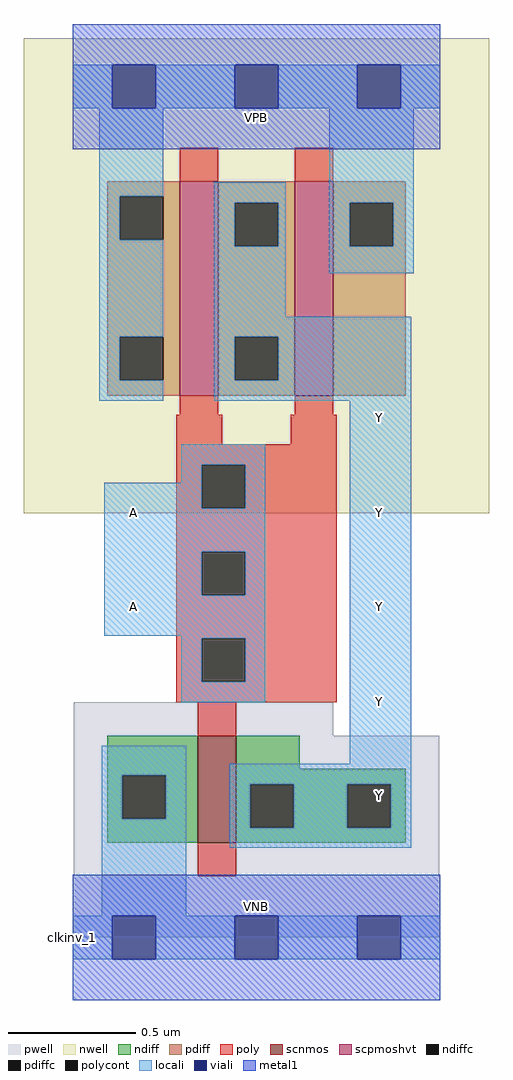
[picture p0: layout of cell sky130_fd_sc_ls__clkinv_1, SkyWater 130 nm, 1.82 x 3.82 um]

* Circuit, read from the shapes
.subckt sky130_fd_sc_ls__clkinv_1 A VGND VNB VPB VPWR Y
XM1 Y A VGND VNB sky130_fd_pr__nfet_01v8 w=0.42 l=0.15
XM2 Y A VPWR VPB sky130_fd_pr__pfet_01v8_hvt w=0.84 l=0.15 m=2
.ends

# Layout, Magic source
magic
tech sky130A
magscale 1 2
<< nwell >>
rect -38 332 326 704
<< pwell >>
rect 1 158 204 184
rect 1 49 287 158
rect 0 0 288 49
<< scnmos >>
rect 98 74 128 158
<< scpmoshvt >>
rect 84 424 114 592
rect 174 424 204 592
<< ndiff >>
rect 27 127 98 158
rect 27 93 39 127
rect 73 93 98 127
rect 27 74 98 93
rect 128 132 178 158
rect 128 120 261 132
rect 128 86 139 120
rect 173 86 215 120
rect 249 86 261 120
rect 128 74 261 86
<< pdiff >>
rect 27 580 84 592
rect 27 546 37 580
rect 71 546 84 580
rect 27 470 84 546
rect 27 436 37 470
rect 71 436 84 470
rect 27 424 84 436
rect 114 575 174 592
rect 114 541 127 575
rect 161 541 174 575
rect 114 470 174 541
rect 114 436 127 470
rect 161 436 174 470
rect 114 424 174 436
rect 204 575 261 592
rect 204 541 217 575
rect 251 541 261 575
rect 204 424 261 541
<< ndiffc >>
rect 39 93 73 127
rect 139 86 173 120
rect 215 86 249 120
<< pdiffc >>
rect 37 546 71 580
rect 37 436 71 470
rect 127 541 161 575
rect 127 436 161 470
rect 217 541 251 575
<< poly >>
rect 84 592 114 618
rect 174 592 204 618
rect 84 409 114 424
rect 174 409 204 424
rect 81 386 117 409
rect 171 386 207 409
rect 81 370 207 386
rect 81 336 101 370
rect 135 336 207 370
rect 81 302 207 336
rect 81 268 101 302
rect 135 268 207 302
rect 81 234 207 268
rect 81 200 101 234
rect 135 200 207 234
rect 81 184 207 200
rect 98 158 128 184
rect 98 48 128 74
<< polycont >>
rect 101 336 135 370
rect 101 268 135 302
rect 101 200 135 234
<< locali >>
rect 0 649 31 683
rect 65 649 127 683
rect 161 649 223 683
rect 257 649 288 683
rect 21 580 71 649
rect 21 546 37 580
rect 21 470 71 546
rect 21 436 37 470
rect 21 420 71 436
rect 111 575 167 591
rect 111 541 127 575
rect 161 541 167 575
rect 111 486 167 541
rect 201 575 267 649
rect 201 541 217 575
rect 251 541 267 575
rect 201 520 267 541
rect 111 470 265 486
rect 111 436 127 470
rect 161 436 265 470
rect 111 420 265 436
rect 85 370 151 386
rect 85 356 101 370
rect 25 336 101 356
rect 135 336 151 370
rect 25 302 151 336
rect 25 268 101 302
rect 135 268 151 302
rect 25 236 151 268
rect 85 234 151 236
rect 85 200 101 234
rect 135 200 151 234
rect 85 184 151 200
rect 23 127 89 150
rect 217 136 265 420
rect 23 93 39 127
rect 73 93 89 127
rect 23 17 89 93
rect 123 120 265 136
rect 123 86 139 120
rect 173 86 215 120
rect 249 86 265 120
rect 123 70 265 86
rect 0 -17 31 17
rect 65 -17 127 17
rect 161 -17 223 17
rect 257 -17 288 17
<< viali >>
rect 31 649 65 683
rect 127 649 161 683
rect 223 649 257 683
rect 31 -17 65 17
rect 127 -17 161 17
rect 223 -17 257 17
<< metal1 >>
rect 0 683 288 715
rect 0 649 31 683
rect 65 649 127 683
rect 161 649 223 683
rect 257 649 288 683
rect 0 617 288 649
rect 0 17 288 49
rect 0 -17 31 17
rect 65 -17 127 17
rect 161 -17 223 17
rect 257 -17 288 17
rect 0 -49 288 -17
<< labels >>
rlabel comment s 0 0 0 0 4 clkinv_1
flabel pwell s 0 0 288 49 0 FreeSans 200 0 0 0 VNB
port 3 nsew ground bidirectional
flabel nwell s 0 617 288 666 0 FreeSans 200 0 0 0 VPB
port 4 nsew power bidirectional
flabel metal1 s 0 617 288 666 0 FreeSans 340 0 0 0 VPWR
port 5 nsew power bidirectional abutment
flabel metal1 s 0 0 288 49 0 FreeSans 340 0 0 0 VGND
port 2 nsew ground bidirectional abutment
flabel locali s 31 242 65 276 0 FreeSans 340 0 0 0 A
port 1 nsew signal input
flabel locali s 31 316 65 350 0 FreeSans 340 0 0 0 A
port 1 nsew signal input
flabel locali s 223 94 257 128 0 FreeSans 340 0 0 0 Y
port 6 nsew signal output
flabel locali s 223 168 257 202 0 FreeSans 340 0 0 0 Y
port 6 nsew signal output
flabel locali s 223 242 257 276 0 FreeSans 340 0 0 0 Y
port 6 nsew signal output
flabel locali s 223 316 257 350 0 FreeSans 340 0 0 0 Y
port 6 nsew signal output
flabel locali s 223 390 257 424 0 FreeSans 340 0 0 0 Y
port 6 nsew signal output
<< properties >>
string LEFsite unit
string LEFclass CORE
string FIXED_BBOX 0 0 288 666
string GDS_FILE $PDKPATH/libs.ref/sky130_fd_sc_ls/gds/sky130_fd_sc_ls.gds
string LEFsymmetry X Y
string GDS_END 2580874
string GDS_START 2576874
<< end >>
